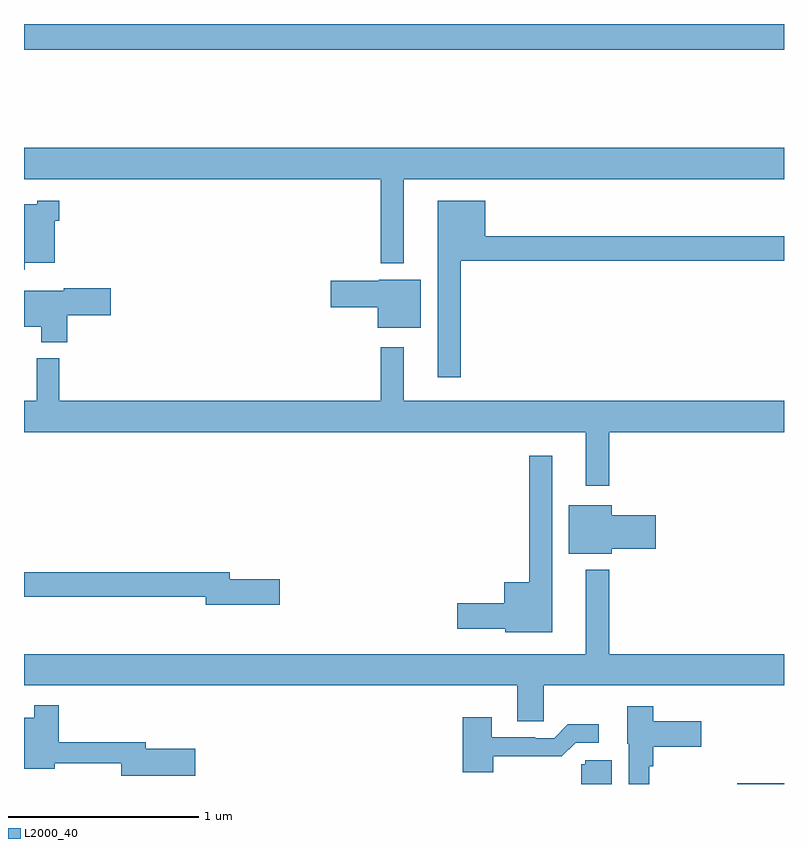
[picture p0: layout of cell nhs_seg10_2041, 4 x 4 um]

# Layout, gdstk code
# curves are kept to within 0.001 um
import gdstk
lib = gdstk.Library(unit=1e-6, precision=1e-09)
def R(c, l, rs):  # rectangles x0, y0, x1, y1
    for r in rs: c.add(gdstk.rectangle(r[:2], r[2:], *l))
def P(c, l, *ps):  # polygons
    for p in ps: c.add(gdstk.Polygon(p, *l))
L2000_40 = (2000, 40)

nhs_seg10_2041 = lib.new_cell('nhs_seg10_2041')
R(nhs_seg10_2041, L2000_40, [(222.754,1262.5,223,1262.504), (219,1266.364,223,1266.5)])
P(nhs_seg10_2041, L2000_40, [(220.999,1265.684),(223,1265.684),(223,1265.848),(219,1265.848),(219,1265.684),(220.878,1265.684),(220.878,1265.24),(220.999,1265.24)],
  [(221.299,1265.254),(223,1265.254),(223,1265.383),(221.428,1265.383),(221.428,1265.569),(221.177,1265.569),(221.177,1264.641),(221.299,1264.641)],
  [(219.004,1265.243),(219.163,1265.243),(219.163,1265.465),(219.185,1265.465),(219.185,1265.569),(219.069,1265.569),(219.069,1265.551),(219,1265.551),(219,1265.207),(219.004,1265.207)],
  [(221.089,1265.155),(220.866,1265.155),(220.866,1265.15),(220.614,1265.15),(220.614,1265.008),(220.862,1265.008),(220.862,1264.901),(221.089,1264.901)],
  [(219.227,1264.966),(219.457,1264.966),(219.457,1265.108),(219.21,1265.108),(219.21,1265.095),(219,1265.095),(219,1264.907),(219.092,1264.907),(219.092,1264.826),(219.227,1264.826)],
  [(222.079,1264.352),(223,1264.352),(223,1264.516),(220.999,1264.516),(220.999,1264.798),(220.878,1264.798),(220.878,1264.516),(219.185,1264.516),(219.185,1264.741),(219.068,1264.741),(219.068,1264.516),(219,1264.516),(219,1264.352),(221.957,1264.352),(221.957,1264.071),(222.079,1264.071)],
  [(221.779,1264.228),(221.658,1264.228),(221.658,1263.562),(221.528,1263.562),(221.528,1263.452),(221.28,1263.452),(221.28,1263.317),(221.532,1263.317),(221.532,1263.299),(221.779,1263.299)],
  [(222.094,1263.737),(222.325,1263.737),(222.325,1263.915),(222.094,1263.915),(222.094,1263.967),(221.867,1263.967),(221.867,1263.713),(222.094,1263.713)],
  [(221.736,1263.02),(223,1263.02),(223,1263.184),(222.079,1263.184),(222.079,1263.628),(221.957,1263.628),(221.957,1263.184),(219,1263.184),(219,1263.02),(221.597,1263.02),(221.597,1262.83),(221.736,1262.83)],
  [(220.345,1263.578),(220.084,1263.578),(220.084,1263.614),(219,1263.614),(219,1263.486),(219.956,1263.486),(219.956,1263.443),(220.345,1263.443)],
  [(219.901,1262.685),(219.64,1262.685),(219.64,1262.719),(219.182,1262.719),(219.182,1262.914),(219.054,1262.914),(219.054,1262.848),(219,1262.848),(219,1262.579),(219.163,1262.579),(219.163,1262.608),(219.512,1262.608),(219.512,1262.543),(219.901,1262.543)],
  [(222.292,1262.594),(222.312,1262.594),(222.312,1262.696),(222.565,1262.696),(222.565,1262.83),(222.312,1262.83),(222.312,1262.908),(222.176,1262.908),(222.176,1262.712),(222.183,1262.712),(222.183,1262.5),(222.292,1262.5)],
  [(221.469,1262.646),(221.831,1262.645),(221.904,1262.718),(222.025,1262.718),(222.025,1262.815),(221.863,1262.815),(221.79,1262.742),(221.69,1262.742),(221.69,1262.745),(221.461,1262.745),(221.461,1262.851),(221.309,1262.851),(221.309,1262.561),(221.469,1262.561)],
  [(222.094,1262.625),(221.955,1262.625),(221.955,1262.604),(221.933,1262.604),(221.933,1262.5),(222.094,1262.5)])

lib.write_gds('nhs_seg10_2041.gds')
